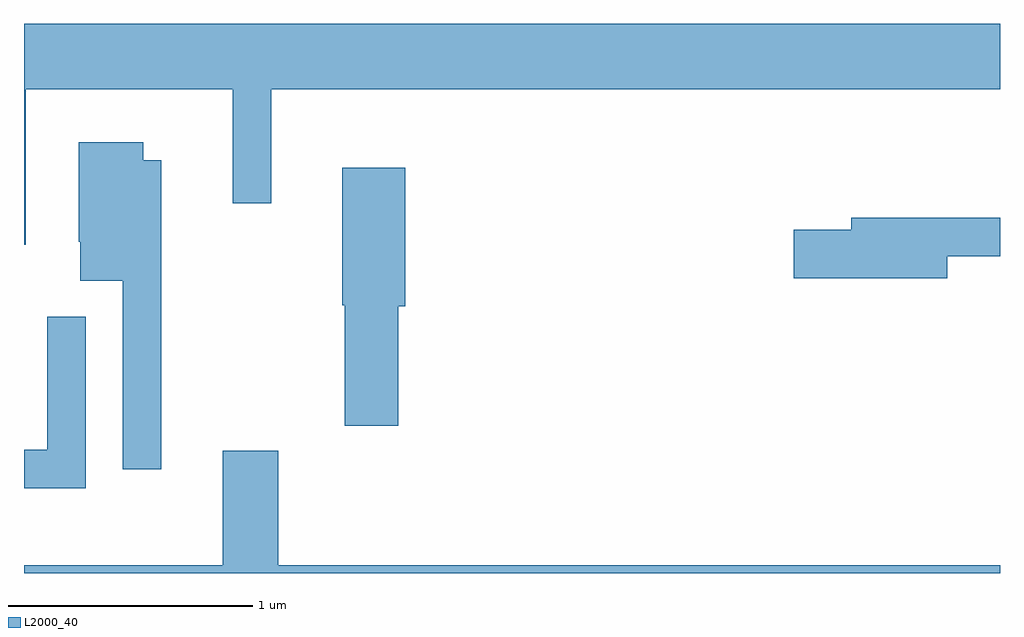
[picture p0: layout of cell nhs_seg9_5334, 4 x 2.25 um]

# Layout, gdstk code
import gdstk
lib = gdstk.Library(unit=1e-6, precision=1e-09)
def P(c, l, *ps):  # polygons
    for p in ps: c.add(gdstk.Polygon(p, *l))
L2000_40 = (2000, 40)

nhs_seg9_5334 = lib.new_cell('nhs_seg9_5334')
P(nhs_seg9_5334, L2000_40, [(341.619,2058.416),(342.466,2058.416),(342.466,2057.948),(342.624,2057.948),(342.624,2058.416),(345.611,2058.416),(345.611,2058.684),(341.611,2058.684),(341.611,2057.778),(341.619,2057.778)],
  [(342.174,2058.124),(342.099,2058.124),(342.099,2058.199),(341.836,2058.199),(341.836,2057.79),(341.841,2057.79),(341.841,2057.631),(342.016,2057.631),(342.016,2056.858),(342.174,2056.858)],
  [(343.144,2057.526),(343.174,2057.526),(343.174,2058.094),(342.916,2058.094),(342.916,2057.53),(342.926,2057.53),(342.926,2057.036),(343.144,2057.036)],
  [(345.394,2057.731),(345.611,2057.731),(345.611,2057.889),(345.001,2057.889),(345.001,2057.839),(344.766,2057.839),(344.766,2057.641),(345.394,2057.641)],
  [(341.864,2057.483),(341.706,2057.483),(341.706,2056.939),(341.611,2056.939),(341.611,2056.781),(341.864,2056.781)],
  [(345.611,2056.464),(342.654,2056.464),(342.654,2056.934),(342.426,2056.934),(342.426,2056.464),(341.611,2056.464),(341.611,2056.432),(345.611,2056.432)])

lib.write_gds('nhs_seg9_5334.gds')
